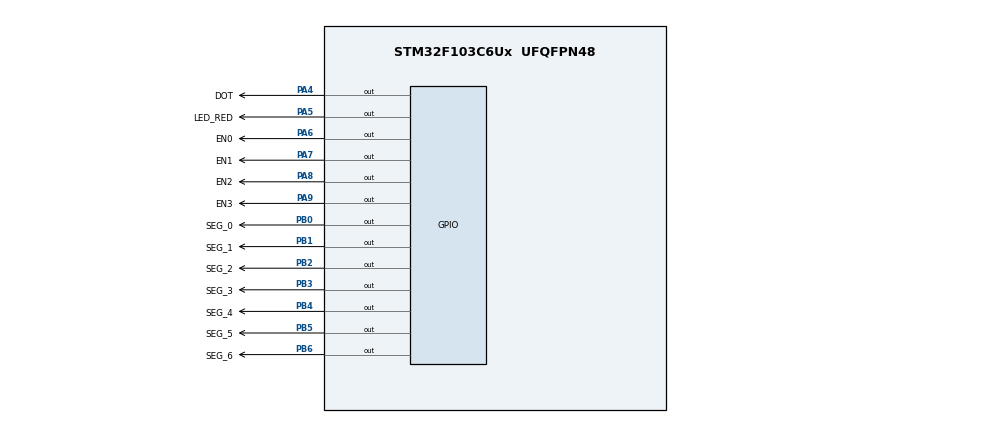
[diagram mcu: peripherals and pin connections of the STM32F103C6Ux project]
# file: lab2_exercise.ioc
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Mcu.Family=STM32F1
Mcu.Name=STM32F103C6Ux
Mcu.Package=UFQFPN48
NVIC.PriorityGroup=NVIC_PRIORITYGROUP_4
NVIC.TIM2_IRQn=true\:0\:0\:false\:false\:true\:true\:true
PA4.GPIO_Label=DOT
PA4.Signal=GPIO_Output
PA5.GPIO_Label=LED_RED
PA5.Signal=GPIO_Output
PA6.GPIO_Label=EN0
PA6.Signal=GPIO_Output
PA7.GPIO_Label=EN1
PA7.Signal=GPIO_Output
PA8.GPIO_Label=EN2
PA8.Signal=GPIO_Output
PA9.GPIO_Label=EN3
PA9.Signal=GPIO_Output
PB0.GPIO_Label=SEG_0
PB0.Signal=GPIO_Output
PB1.GPIO_Label=SEG_1
PB1.Signal=GPIO_Output
PB2.GPIO_Label=SEG_2
PB2.Signal=GPIO_Output
PB3.GPIO_Label=SEG_3
PB3.Signal=GPIO_Output
PB4.GPIO_Label=SEG_4
PB4.Signal=GPIO_Output
PB5.GPIO_Label=SEG_5
PB5.Signal=GPIO_Output
PB6.GPIO_Label=SEG_6
PB6.Signal=GPIO_Output
ProjectManager.HeapSize=0x200
ProjectManager.StackSize=0x400
ProjectManager.TargetToolchain=STM32CubeIDE
RCC.APB1Freq_Value=8000000
RCC.APB2Freq_Value=8000000
TIM2.Period=9
TIM2.Prescaler=7999
VP_SYS_VS_ND.Mode=No_Debug
VP_TIM2_VS_ClockSourceINT.Mode=Internal
board=custom

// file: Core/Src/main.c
/* USER CODE BEGIN Header */
/**
  ******************************************************************************
  * @file           : main.c
  * @brief          : Main program body
  ******************************************************************************
  * @attention
  *
  * <h2><center>&copy; Copyright (c) 2024 STMicroelectronics.
  * All rights reserved.</center></h2>
  *
  * This software component is licensed by ST under BSD 3-Clause license,
  * the "License"; You may not use this file except in compliance with the
  * License. You may obtain a copy of the License at:
  *                        opensource.org/licenses/BSD-3-Clause
  *
  ******************************************************************************
  */
/* USER CODE END Header */
#include "main.h"

/* USER CODE BEGIN Includes */
#include "software_timer.h"
/* USER CODE END Includes */

TIM_HandleTypeDef htim2;

void SystemClock_Config(void);
static void MX_GPIO_Init(void);
static void MX_TIM2_Init(void);

/* USER CODE BEGIN 0 */
void display7SEG(int num){
	 switch (num)
			  {
			  case 0:
				  HAL_GPIO_WritePin(SEG_0_GPIO_Port, SEG_0_Pin, RESET);
				  HAL_GPIO_WritePin(SEG_1_GPIO_Port, SEG_1_Pin, RESET);
				  HAL_GPIO_WritePin(SEG_2_GPIO_Port, SEG_2_Pin, RESET);
				  HAL_GPIO_WritePin(SEG_3_GPIO_Port, SEG_3_Pin, RESET);
				  HAL_GPIO_WritePin(SEG_4_GPIO_Port, SEG_4_Pin, RESET);
				  HAL_GPIO_WritePin(SEG_5_GPIO_Port, SEG_5_Pin, RESET);
				  HAL_GPIO_WritePin(SEG_6_GPIO_Port, SEG_6_Pin, SET);
				  break;
			  case 1:
				  HAL_GPIO_WritePin(SEG_0_GPIO_Port, SEG_0_Pin, SET);
				  HAL_GPIO_WritePin(SEG_1_GPIO_Port, SEG_1_Pin, RESET);
				  HAL_GPIO_WritePin(SEG_2_GPIO_Port, SEG_2_Pin, RESET);
				  HAL_GPIO_WritePin(SEG_3_GPIO_Port, SEG_3_Pin, SET);
				  HAL_GPIO_WritePin(SEG_4_GPIO_Port, SEG_4_Pin, SET);
				  HAL_GPIO_WritePin(SEG_5_GPIO_Port, SEG_5_Pin, SET);
				  HAL_GPIO_WritePin(SEG_6_GPIO_Port, SEG_6_Pin, SET);
				  break;
			  case 2:
				  HAL_GPIO_WritePin(SEG_0_GPIO_Port, SEG_0_Pin, RESET);
				  HAL_GPIO_WritePin(SEG_1_GPIO_Port, SEG_1_Pin, RESET);
				  HAL_GPIO_WritePin(SEG_2_GPIO_Port, SEG_2_Pin, SET);
				  HAL_GPIO_WritePin(SEG_3_GPIO_Port, SEG_3_Pin, RESET);
				  HAL_GPIO_WritePin(SEG_4_GPIO_Port, SEG_4_Pin, RESET);
				  HAL_GPIO_WritePin(SEG_5_GPIO_Port, SEG_5_Pin, SET);
				  HAL_GPIO_WritePin(SEG_6_GPIO_Port, SEG_6_Pin, RESET);
				  break;
			  case 3:
				  HAL_GPIO_WritePin(SEG_0_GPIO_Port, SEG_0_Pin, RESET);
				  HAL_GPIO_WritePin(SEG_1_GPIO_Port, SEG_1_Pin, RESET);
				  HAL_GPIO_WritePin(SEG_2_GPIO_Port, SEG_2_Pin, RESET);
				  HAL_GPIO_WritePin(SEG_3_GPIO_Port, SEG_3_Pin, RESET);
				  HAL_GPIO_WritePin(SEG_4_GPIO_Port, SEG_4_Pin, SET);
				  HAL_GPIO_WritePin(SEG_5_GPIO_Port, SEG_5_Pin, SET);
				  HAL_GPIO_WritePin(SEG_6_GPIO_Port, SEG_6_Pin, RESET);
				  break;
			  case 4:
				  HAL_GPIO_WritePin(SEG_0_GPIO_Port, SEG_0_Pin, SET);
				  HAL_GPIO_WritePin(SEG_1_GPIO_Port, SEG_1_Pin, RESET);
				  HAL_GPIO_WritePin(SEG_2_GPIO_Port, SEG_2_Pin, RESET);
				  HAL_GPIO_WritePin(SEG_3_GPIO_Port, SEG_3_Pin, SET);
				  HAL_GPIO_WritePin(SEG_4_GPIO_Port, SEG_4_Pin, SET);
				  HAL_GPIO_WritePin(SEG_5_GPIO_Port, SEG_5_Pin, RESET);
				  HAL_GPIO_WritePin(SEG_6_GPIO_Port, SEG_6_Pin, RESET);
				  break;
			  case 5:
				  HAL_GPIO_WritePin(SEG_0_GPIO_Port, SEG_0_Pin, RESET);
				  HAL_GPIO_WritePin(SEG_1_GPIO_Port, SEG_1_Pin, SET);
				  HAL_GPIO_WritePin(SEG_2_GPIO_Port, SEG_2_Pin, RESET);
				  HAL_GPIO_WritePin(SEG_3_GPIO_Port, SEG_3_Pin, RESET);
				  HAL_GPIO_WritePin(SEG_4_GPIO_Port, SEG_4_Pin, SET);
				  HAL_GPIO_WritePin(SEG_5_GPIO_Port, SEG_5_Pin, RESET);
				  HAL_GPIO_WritePin(SEG_6_GPIO_Port, SEG_6_Pin, RESET);
				  break;
			  case 6:
				  HAL_GPIO_WritePin(SEG_0_GPIO_Port, SEG_0_Pin, RESET);
				  HAL_GPIO_WritePin(SEG_1_GPIO_Port, SEG_1_Pin, SET);
				  HAL_GPIO_WritePin(SEG_2_GPIO_Port, SEG_2_Pin, RESET);
				  HAL_GPIO_WritePin(SEG_3_GPIO_Port, SEG_3_Pin, RESET);
				  HAL_GPIO_WritePin(SEG_4_GPIO_Port, SEG_4_Pin, RESET);
				  HAL_GPIO_WritePin(SEG_5_GPIO_Port, SEG_5_Pin, RESET);
				  HAL_GPIO_WritePin(SEG_6_GPIO_Port, SEG_6_Pin, RESET);
				  break;
			  case 7:
				  HAL_GPIO_WritePin(SEG_0_GPIO_Port, SEG_0_Pin, RESET);
				  HAL_GPIO_WritePin(SEG_1_GPIO_Port, SEG_1_Pin, RESET);
				  HAL_GPIO_WritePin(SEG_2_GPIO_Port, SEG_2_Pin, RESET);
				  HAL_GPIO_WritePin(SEG_3_GPIO_Port, SEG_3_Pin, SET);
				  HAL_GPIO_WritePin(SEG_4_GPIO_Port, SEG_4_Pin, SET);
				  HAL_GPIO_WritePin(SEG_5_GPIO_Port, SEG_5_Pin, SET);
				  HAL_GPIO_WritePin(SEG_6_GPIO_Port, SEG_6_Pin, SET);
				  break;
			  case 8:
				  HAL_GPIO_WritePin(SEG_0_GPIO_Port, SEG_0_Pin, RESET);
				  HAL_GPIO_WritePin(SEG_1_GPIO_Port, SEG_1_Pin, RESET);
				  HAL_GPIO_WritePin(SEG_2_GPIO_Port, SEG_2_Pin, RESET);
				  HAL_GPIO_WritePin(SEG_3_GPIO_Port, SEG_3_Pin, RESET);
				  HAL_GPIO_WritePin(SEG_4_GPIO_Port, SEG_4_Pin, RESET);
				  HAL_GPIO_WritePin(SEG_5_GPIO_Port, SEG_5_Pin, RESET);
				  HAL_GPIO_WritePin(SEG_6_GPIO_Port, SEG_6_Pin, RESET);
				  break;
			  case 9:
				  HAL_GPIO_WritePin(SEG_0_GPIO_Port, SEG_0_Pin, RESET);
				  HAL_GPIO_WritePin(SEG_1_GPIO_Port, SEG_1_Pin, RESET);
				  HAL_GPIO_WritePin(SEG_2_GPIO_Port, SEG_2_Pin, RESET);
				  HAL_GPIO_WritePin(SEG_3_GPIO_Port, SEG_3_Pin, RESET);
				  HAL_GPIO_WritePin(SEG_4_GPIO_Port, SEG_4_Pin, SET);
				  HAL_GPIO_WritePin(SEG_5_GPIO_Port, SEG_5_Pin, RESET);
				  HAL_GPIO_WritePin(SEG_6_GPIO_Port, SEG_6_Pin, RESET);
				  break;
			  default:
				  break;
			  }
}
const int MAX_LED = 4;
int index_led = 0;
int led_buffer [4] = {1, 2, 3, 4};
int hour = 15, minute = 8, second = 50;
void update7SEG (int index){
	switch (index){
		case 0:
			HAL_GPIO_WritePin(EN0_GPIO_Port,EN0_Pin,RESET);
			HAL_GPIO_WritePin(EN1_GPIO_Port,EN1_Pin,SET);
			HAL_GPIO_WritePin(EN2_GPIO_Port,EN2_Pin,SET);
			HAL_GPIO_WritePin(EN3_GPIO_Port,EN3_Pin,SET);
			display7SEG(led_buffer[0]);
			break;
		case 1:
			HAL_GPIO_WritePin(EN0_GPIO_Port,EN0_Pin,SET);
			HAL_GPIO_WritePin(EN1_GPIO_Port,EN1_Pin,RESET);
			HAL_GPIO_WritePin(EN2_GPIO_Port,EN2_Pin,SET);
			HAL_GPIO_WritePin(EN3_GPIO_Port,EN3_Pin,SET);
			display7SEG(led_buffer[1]);
			break;
		case 2:
			HAL_GPIO_WritePin(EN0_GPIO_Port,EN0_Pin,SET);
			HAL_GPIO_WritePin(EN1_GPIO_Port,EN1_Pin,SET);
			HAL_GPIO_WritePin(EN2_GPIO_Port,EN2_Pin,RESET);
			HAL_GPIO_WritePin(EN3_GPIO_Port,EN3_Pin,SET);
			display7SEG(led_buffer[2]);
			break;
		case 3:
			HAL_GPIO_WritePin(EN0_GPIO_Port,EN0_Pin,SET);
			HAL_GPIO_WritePin(EN1_GPIO_Port,EN1_Pin,SET);
			HAL_GPIO_WritePin(EN2_GPIO_Port,EN2_Pin,SET);
			HAL_GPIO_WritePin(EN3_GPIO_Port,EN3_Pin,RESET);
			display7SEG(led_buffer[3]);
			break;
		default :
			break;
	}
}
void updateClockBuffer (){
	led_buffer[0] = hour / 10;
	led_buffer[1] = hour % 10;
	led_buffer[2] = minute / 10;
	led_buffer[3] = minute % 10;
}
/* USER CODE END 0 */

int main(void)
{

  /* MCU Configuration--------------------------------------------------------*/

  /* Reset of all peripherals, Initializes the Flash interface and the Systick. */
  HAL_Init();

  /* Configure the system clock */
  SystemClock_Config();

  /* Initialize all configured peripherals */
  MX_GPIO_Init();
  MX_TIM2_Init();
  /* USER CODE BEGIN 2 */
  HAL_TIM_Base_Start_IT (& htim2 );
  /* USER CODE END 2 */

  /* Infinite loop */
  /* USER CODE BEGIN WHILE */
  setTimer1(100);
  setTimer2(50);
  setTimer3(100);
  while (1)
  {
	  updateClockBuffer();
	  if(timer3_flag == 1){
		  setTimer3(100);
		  second++;
		  if (second >= 60){
			  second = 0;
			  minute ++;
		  }
		  if(minute >= 60){
			  minute = 0;
			  hour ++;
		  }
		  if(hour >= 24){
			  hour = 0;
		  }
	  }
	  if (timer1_flag == 1){
		  setTimer1(100);
		  HAL_GPIO_TogglePin(DOT_GPIO_Port, DOT_Pin);

	  }
	  if (timer2_flag == 1){
		  setTimer2(50);
		  update7SEG(index_led);
		  index_led = (index_led + 1) % 4;

	  }
    /* USER CODE END WHILE */

  }
}

void SystemClock_Config(void)
{
  RCC_OscInitTypeDef RCC_OscInitStruct = {0};
  RCC_ClkInitTypeDef RCC_ClkInitStruct = {0};

  /** Initializes the RCC Oscillators according to the specified parameters
  * in the RCC_OscInitTypeDef structure.
  */
  RCC_OscInitStruct.OscillatorType = RCC_OSCILLATORTYPE_HSI;
  RCC_OscInitStruct.HSIState = RCC_HSI_ON;
  RCC_OscInitStruct.HSICalibrationValue = RCC_HSICALIBRATION_DEFAULT;
  RCC_OscInitStruct.PLL.PLLState = RCC_PLL_NONE;
  if (HAL_RCC_OscConfig(&RCC_OscInitStruct) != HAL_OK)
  {
    Error_Handler();
  }
  /** Initializes the CPU, AHB and APB buses clocks
  */
  RCC_ClkInitStruct.ClockType = RCC_CLOCKTYPE_HCLK|RCC_CLOCKTYPE_SYSCLK
                              |RCC_CLOCKTYPE_PCLK1|RCC_CLOCKTYPE_PCLK2;
  RCC_ClkInitStruct.SYSCLKSource = RCC_SYSCLKSOURCE_HSI;
  RCC_ClkInitStruct.AHBCLKDivider = RCC_SYSCLK_DIV1;
  RCC_ClkInitStruct.APB1CLKDivider = RCC_HCLK_DIV1;
  RCC_ClkInitStruct.APB2CLKDivider = RCC_HCLK_DIV1;

  if (HAL_RCC_ClockConfig(&RCC_ClkInitStruct, FLASH_LATENCY_0) != HAL_OK)
  {
    Error_Handler();
  }
}

static void MX_TIM2_Init(void)
{

  TIM_ClockConfigTypeDef sClockSourceConfig = {0};
  TIM_MasterConfigTypeDef sMasterConfig = {0};

  htim2.Instance = TIM2;
  htim2.Init.Prescaler = 7999;
  htim2.Init.CounterMode = TIM_COUNTERMODE_UP;
  htim2.Init.Period = 9;
  htim2.Init.ClockDivision = TIM_CLOCKDIVISION_DIV1;
  htim2.Init.AutoReloadPreload = TIM_AUTORELOAD_PRELOAD_DISABLE;
  if (HAL_TIM_Base_Init(&htim2) != HAL_OK)
  {
    Error_Handler();
  }
  sClockSourceConfig.ClockSource = TIM_CLOCKSOURCE_INTERNAL;
  if (HAL_TIM_ConfigClockSource(&htim2, &sClockSourceConfig) != HAL_OK)
  {
    Error_Handler();
  }
  sMasterConfig.MasterOutputTrigger = TIM_TRGO_RESET;
  sMasterConfig.MasterSlaveMode = TIM_MASTERSLAVEMODE_DISABLE;
  if (HAL_TIMEx_MasterConfigSynchronization(&htim2, &sMasterConfig) != HAL_OK)
  {
    Error_Handler();
  }

}

static void MX_GPIO_Init(void)
{
  GPIO_InitTypeDef GPIO_InitStruct = {0};

  /* GPIO Ports Clock Enable */
  __HAL_RCC_GPIOA_CLK_ENABLE();
  __HAL_RCC_GPIOB_CLK_ENABLE();

  /*Configure GPIO pin Output Level */
  HAL_GPIO_WritePin(GPIOA, DOT_Pin|LED_RED_Pin|EN0_Pin|EN1_Pin
                          |EN2_Pin|EN3_Pin, GPIO_PIN_RESET);

  /*Configure GPIO pin Output Level */
  HAL_GPIO_WritePin(GPIOB, SEG_0_Pin|SEG_1_Pin|SEG_2_Pin|SEG_3_Pin
                          |SEG_4_Pin|SEG_5_Pin|SEG_6_Pin, GPIO_PIN_RESET);

  /*Configure GPIO pins : DOT_Pin LED_RED_Pin EN0_Pin EN1_Pin
                           EN2_Pin EN3_Pin */
  GPIO_InitStruct.Pin = DOT_Pin|LED_RED_Pin|EN0_Pin|EN1_Pin
                          |EN2_Pin|EN3_Pin;
  GPIO_InitStruct.Mode = GPIO_MODE_OUTPUT_PP;
  GPIO_InitStruct.Pull = GPIO_NOPULL;
  GPIO_InitStruct.Speed = GPIO_SPEED_FREQ_LOW;
  HAL_GPIO_Init(GPIOA, &GPIO_InitStruct);

  /*Configure GPIO pins : SEG_0_Pin SEG_1_Pin SEG_2_Pin SEG_3_Pin
                           SEG_4_Pin SEG_5_Pin SEG_6_Pin */
  GPIO_InitStruct.Pin = SEG_0_Pin|SEG_1_Pin|SEG_2_Pin|SEG_3_Pin
                          |SEG_4_Pin|SEG_5_Pin|SEG_6_Pin;
  GPIO_InitStruct.Mode = GPIO_MODE_OUTPUT_PP;
  GPIO_InitStruct.Pull = GPIO_NOPULL;
  GPIO_InitStruct.Speed = GPIO_SPEED_FREQ_LOW;
  HAL_GPIO_Init(GPIOB, &GPIO_InitStruct);

}

/* USER CODE BEGIN 4 */
int counter_segment  = 1 ;\
int counter_led = 100;
int flag = 50;

void HAL_TIM_PeriodElapsedCallback ( TIM_HandleTypeDef * htim )
{
	timerRun();
}
/* USER CODE END 4 */

void Error_Handler(void)
{
  __disable_irq();
  while (1)
  {
  }
}

/************************ (C) COPYRIGHT STMicroelectronics *****END OF FILE****/
